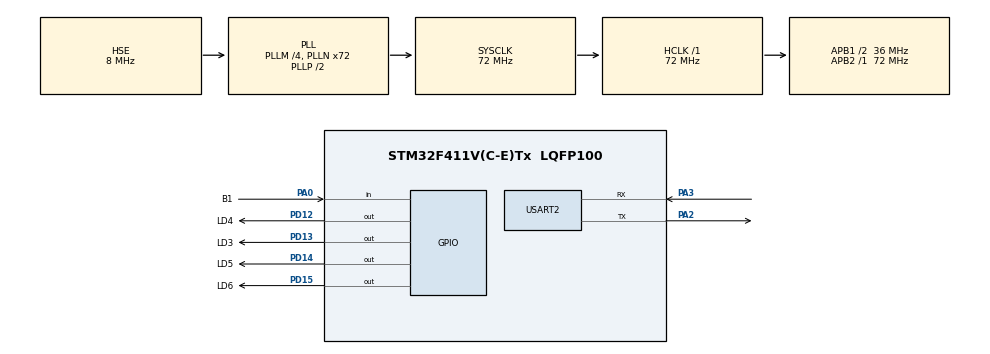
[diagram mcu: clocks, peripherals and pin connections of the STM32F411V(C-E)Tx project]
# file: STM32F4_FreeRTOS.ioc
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FREERTOS.Tasks01=defaultTask,24,128,StartDefaultTask,Default,NULL,Dynamic,NULL,NULL
FREERTOS.configENABLE_FPU=1
Mcu.Family=STM32F4
Mcu.Name=STM32F411V(C-E)Tx
Mcu.Package=LQFP100
NVIC.PriorityGroup=NVIC_PRIORITYGROUP_4
NVIC.USART2_IRQn=true\:5\:0\:false\:false\:true\:true\:true\:true\:true
PA0-WKUP.GPIO_Label=B1
PA0-WKUP.Signal=GPIO_Input
PA2.Mode=Asynchronous
PA2.Signal=USART2_TX
PA3.Mode=Asynchronous
PA3.Signal=USART2_RX
PD12.GPIO_Label=LD4
PD12.Signal=GPIO_Output
PD13.GPIO_Label=LD3
PD13.Signal=GPIO_Output
PD14.GPIO_Label=LD5
PD14.Signal=GPIO_Output
PD15.GPIO_Label=LD6
PD15.Signal=GPIO_Output
PH0\ -\ OSC_IN.Mode=HSE-External-Oscillator
PH0\ -\ OSC_IN.Signal=RCC_OSC_IN
PH1\ -\ OSC_OUT.Mode=HSE-External-Oscillator
PH1\ -\ OSC_OUT.Signal=RCC_OSC_OUT
ProjectManager.HeapSize=0x200
ProjectManager.StackSize=0x400
ProjectManager.TargetToolchain=MDK-ARM V5.32
RCC.48MHZClocksFreq_Value=36000000
RCC.AHBFreq_Value=72000000
RCC.APB1CLKDivider=RCC_HCLK_DIV2
RCC.APB1Freq_Value=36000000
RCC.APB1TimFreq_Value=72000000
RCC.APB2Freq_Value=72000000
RCC.APB2TimFreq_Value=72000000
RCC.CortexFreq_Value=72000000
RCC.HCLKFreq_Value=72000000
RCC.HSE_VALUE=8000000
RCC.HSI_VALUE=16000000
RCC.LSE_VALUE=32768
RCC.PLLM=4
RCC.PLLN=72
RCC.PLLSourceVirtual=RCC_PLLSOURCE_HSE
RCC.SYSCLKFreq_VALUE=72000000
RCC.SYSCLKSource=RCC_SYSCLKSOURCE_PLLCLK
RCC.VCOOutputFreq_Value=144000000
USART2.VirtualMode=VM_ASYNC
VP_FREERTOS_VS_CMSIS_V2.Mode=CMSIS_V2
board=custom

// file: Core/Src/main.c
/* USER CODE BEGIN Header */
/**
  ******************************************************************************
  * @file           : main.c
  * @brief          : Main program body
  ******************************************************************************
  * @attention
  *
  * Copyright (c) 2025 STMicroelectronics.
  * All rights reserved.
  *
  * This software is licensed under terms that can be found in the LICENSE file
  * in the root directory of this software component.
  * If no LICENSE file comes with this software, it is provided AS-IS.
  *
  ******************************************************************************
  */
/* USER CODE END Header */
#include "main.h"
#include "cmsis_os.h"

/* USER CODE BEGIN Includes */
#include "stdio.h"
#include "limits.h"
/* USER CODE END Includes */

UART_HandleTypeDef huart2;

/* Definitions for defaultTask */
osThreadId_t defaultTaskHandle;
const osThreadAttr_t defaultTask_attributes = {
  .name = "defaultTask",
  .stack_size = 128 * 4,
  .priority = (osPriority_t) osPriorityNormal,
};
/* USER CODE BEGIN PV */
osThreadId_t LED_Task_Handle;
const osThreadAttr_t LED_Task_attributes = {
  .name = "LEDTask",
  .stack_size = 128*4,
  .priority = (osPriority_t) osPriorityNormal,
};

osThreadId_t Test_Task_Handle;
const osThreadAttr_t Test_Task_attributes = {
  .name = "TestTask",
  .stack_size = 128*4,
  .priority = (osPriority_t) osPriorityNormal,
};

uint8_t *Test_Ptr = NULL;

/* USER CODE END PV */

void SystemClock_Config(void);
static void MX_GPIO_Init(void);
static void MX_USART2_UART_Init(void);
void StartDefaultTask(void *argument);

/* USER CODE BEGIN PFP */
static void AppCreateTask( void *parameter );
static void LED_Task( void *parameter );
static void Test_Task( void *parameter );

static void LED_Task(void* parameter)
{
    while(1)
    {
        HAL_GPIO_TogglePin( GPIOD, LD3_Pin) ;
        osDelay( 1000 );
    }
}

static void Test_Task(void* parameter)
{
    uint32_t ulReturn;
    BaseType_t pressed = pdFALSE;
    uint32_t g_memsize;

    while(1)
    {
        if( HAL_GPIO_ReadPin(B1_GPIO_Port, B1_Pin) == GPIO_PIN_SET )
        {
            if( pressed == pdFALSE )
            {
                printf("B1_Pin key down.\r\n");

                pressed = pdTRUE;

                if( Test_Ptr == NULL )
                {
                    g_memsize = xPortGetFreeHeapSize();
                    printf("Current free heap size: %u. \r\n", g_memsize);

                    Test_Ptr = pvPortMalloc( 1024 );
                    if( Test_Ptr != NULL )
                    {
                        printf("Alloc Test_Ptr successfully. \r\n");
                        printf("Address: %x. \r\n", (int)Test_Ptr );

                        g_memsize = xPortGetFreeHeapSize();
                        printf("Current free heap size: %u. \r\n", g_memsize);

                        sprintf( (char*) Test_Ptr, "Current system tick count:%u.", osKernelGetTickCount() );

                        printf("The data in Test_Ptr is: %s. \r\n",(char*) Test_Ptr);
                    }
                }
            }
        }
        else
        {
            if( pressed == pdTRUE )
            {
                printf("B1_Pin key up.\r\n");

                pressed = pdFALSE;

                 if( Test_Ptr != NULL )
                 {
                     printf(" Free memory of Test_Ptr. \r\n");
                     vPortFree( Test_Ptr );
                     Test_Ptr = NULL;
                     g_memsize = xPortGetFreeHeapSize();
                     printf("Current free heap size: %u. \r\n", g_memsize);
                 }
            }
        }

        osDelay(20);
    }

}

/* USER CODE END PFP */

int main(void)
{

  /* MCU Configuration--------------------------------------------------------*/

  /* Reset of all peripherals, Initializes the Flash interface and the Systick. */
  HAL_Init();

  /* Configure the system clock */
  SystemClock_Config();

  /* Initialize all configured peripherals */
  MX_GPIO_Init();
  MX_USART2_UART_Init();
  /* USER CODE BEGIN 2 */
  printf("STM32F4_FreeRTOS: System Init successfully. \r\n");
  /* USER CODE END 2 */

  /* Init scheduler */
  osKernelInitialize();

  /* USER CODE BEGIN RTOS_MUTEX */
  /* add mutexes, ... */
  printf("STM32F4_FreeRTOS: Scheduler Init successfully. \r\n");
  /* USER CODE END RTOS_MUTEX */

  /* Create the thread(s) */
  /* creation of defaultTask */
  defaultTaskHandle = osThreadNew(StartDefaultTask, NULL, &defaultTask_attributes);

  /* Start scheduler */
  osKernelStart();

  /* We should never get here as control is now taken by the scheduler */

  /* Infinite loop */
  while (1)
  {

  }
}

void SystemClock_Config(void)
{
  RCC_OscInitTypeDef RCC_OscInitStruct = {0};
  RCC_ClkInitTypeDef RCC_ClkInitStruct = {0};

  /** Configure the main internal regulator output voltage
  */
  __HAL_RCC_PWR_CLK_ENABLE();
  __HAL_PWR_VOLTAGESCALING_CONFIG(PWR_REGULATOR_VOLTAGE_SCALE1);

  /** Initializes the RCC Oscillators according to the specified parameters
  * in the RCC_OscInitTypeDef structure.
  */
  RCC_OscInitStruct.OscillatorType = RCC_OSCILLATORTYPE_HSE;
  RCC_OscInitStruct.HSEState = RCC_HSE_ON;
  RCC_OscInitStruct.PLL.PLLState = RCC_PLL_ON;
  RCC_OscInitStruct.PLL.PLLSource = RCC_PLLSOURCE_HSE;
  RCC_OscInitStruct.PLL.PLLM = 4;
  RCC_OscInitStruct.PLL.PLLN = 72;
  RCC_OscInitStruct.PLL.PLLP = RCC_PLLP_DIV2;
  RCC_OscInitStruct.PLL.PLLQ = 4;
  if (HAL_RCC_OscConfig(&RCC_OscInitStruct) != HAL_OK)
  {
    Error_Handler();
  }

  /** Initializes the CPU, AHB and APB buses clocks
  */
  RCC_ClkInitStruct.ClockType = RCC_CLOCKTYPE_HCLK|RCC_CLOCKTYPE_SYSCLK
                              |RCC_CLOCKTYPE_PCLK1|RCC_CLOCKTYPE_PCLK2;
  RCC_ClkInitStruct.SYSCLKSource = RCC_SYSCLKSOURCE_PLLCLK;
  RCC_ClkInitStruct.AHBCLKDivider = RCC_SYSCLK_DIV1;
  RCC_ClkInitStruct.APB1CLKDivider = RCC_HCLK_DIV2;
  RCC_ClkInitStruct.APB2CLKDivider = RCC_HCLK_DIV1;

  if (HAL_RCC_ClockConfig(&RCC_ClkInitStruct, FLASH_LATENCY_2) != HAL_OK)
  {
    Error_Handler();
  }
}

static void MX_USART2_UART_Init(void)
{

  huart2.Instance = USART2;
  huart2.Init.BaudRate = 115200;
  huart2.Init.WordLength = UART_WORDLENGTH_8B;
  huart2.Init.StopBits = UART_STOPBITS_1;
  huart2.Init.Parity = UART_PARITY_NONE;
  huart2.Init.Mode = UART_MODE_TX_RX;
  huart2.Init.HwFlowCtl = UART_HWCONTROL_NONE;
  huart2.Init.OverSampling = UART_OVERSAMPLING_16;
  if (HAL_UART_Init(&huart2) != HAL_OK)
  {
    Error_Handler();
  }

}

static void MX_GPIO_Init(void)
{
  GPIO_InitTypeDef GPIO_InitStruct = {0};

  /* GPIO Ports Clock Enable */
  __HAL_RCC_GPIOH_CLK_ENABLE();
  __HAL_RCC_GPIOA_CLK_ENABLE();
  __HAL_RCC_GPIOD_CLK_ENABLE();

  /*Configure GPIO pin Output Level */
  HAL_GPIO_WritePin(GPIOD, LD4_Pin|LD3_Pin|LD5_Pin|LD6_Pin, GPIO_PIN_RESET);

  /*Configure GPIO pin : B1_Pin */
  GPIO_InitStruct.Pin = B1_Pin;
  GPIO_InitStruct.Mode = GPIO_MODE_INPUT;
  GPIO_InitStruct.Pull = GPIO_NOPULL;
  HAL_GPIO_Init(B1_GPIO_Port, &GPIO_InitStruct);

  /*Configure GPIO pins : LD4_Pin LD3_Pin LD5_Pin LD6_Pin */
  GPIO_InitStruct.Pin = LD4_Pin|LD3_Pin|LD5_Pin|LD6_Pin;
  GPIO_InitStruct.Mode = GPIO_MODE_OUTPUT_PP;
  GPIO_InitStruct.Pull = GPIO_NOPULL;
  GPIO_InitStruct.Speed = GPIO_SPEED_FREQ_LOW;
  HAL_GPIO_Init(GPIOD, &GPIO_InitStruct);

}

/* USER CODE BEGIN 4 */
int fputc(int ch, FILE* f)
{
    while( huart2.gState != HAL_UART_STATE_READY)
    {
        osDelay(1);
    }

    HAL_UART_Transmit( &huart2, ( uint8_t* ) &ch, 1, 0xffff);
    return ch;
}
/* USER CODE END 4 */

void StartDefaultTask(void *argument)
{
  /* USER CODE BEGIN 5 */
  /* Infinite loop */
  //for(;;)
  //{

    osStatus_t xReturn;

    taskENTER_CRITICAL();

    LED_Task_Handle = osThreadNew(LED_Task, NULL, &LED_Task_attributes);
    if( LED_Task_Handle != NULL )
    {
        printf("Create LED_Task successfully. \r\n");
    }

    Test_Task_Handle = osThreadNew(Test_Task, NULL, &Test_Task_attributes);
    if( Test_Task_Handle != NULL )
    {
        printf("Create Test_Task successfully. \r\n");
    }

    vTaskDelete( defaultTaskHandle );

    taskEXIT_CRITICAL();
  //}
  /* USER CODE END 5 */
}

void Error_Handler(void)
{
  __disable_irq();
  while (1)
  {
  }
}
